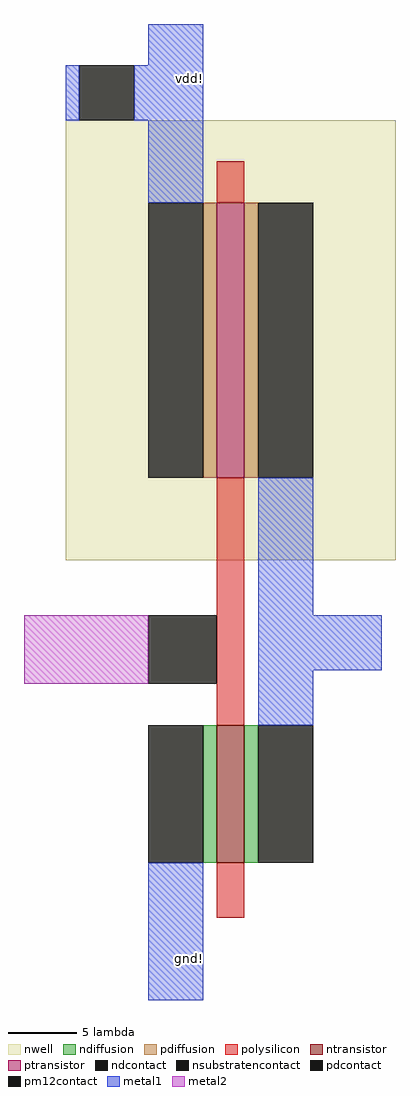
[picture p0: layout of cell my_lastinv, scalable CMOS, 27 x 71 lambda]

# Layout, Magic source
magic
tech scmos
<< nwell >>
rect -328 -359 -304 -327
<< ntransistor >>
rect -317 -381 -315 -371
<< ptransistor >>
rect -317 -353 -315 -333
<< ndiffusion >>
rect -318 -381 -317 -371
rect -315 -381 -314 -371
<< pdiffusion >>
rect -318 -353 -317 -333
rect -315 -353 -314 -333
<< ndcontact >>
rect -322 -381 -318 -371
rect -314 -381 -310 -371
<< pdcontact >>
rect -322 -353 -318 -333
rect -314 -353 -310 -333
<< nsubstratencontact >>
rect -327 -327 -323 -323
<< polysilicon >>
rect -317 -333 -315 -330
rect -317 -371 -315 -353
rect -317 -385 -315 -381
<< metal1 >>
rect -322 -323 -318 -320
rect -328 -327 -327 -323
rect -323 -327 -318 -323
rect -322 -333 -318 -327
rect -314 -363 -310 -353
rect -314 -367 -305 -363
rect -314 -371 -310 -367
rect -322 -391 -318 -381
<< pm12contact >>
rect -322 -368 -317 -363
<< metal2 >>
rect -331 -368 -322 -363
<< labels >>
rlabel metal1 -319 -324 -319 -324 5 vdd!
rlabel metal1 -319 -388 -319 -388 1 gnd!
<< end >>
